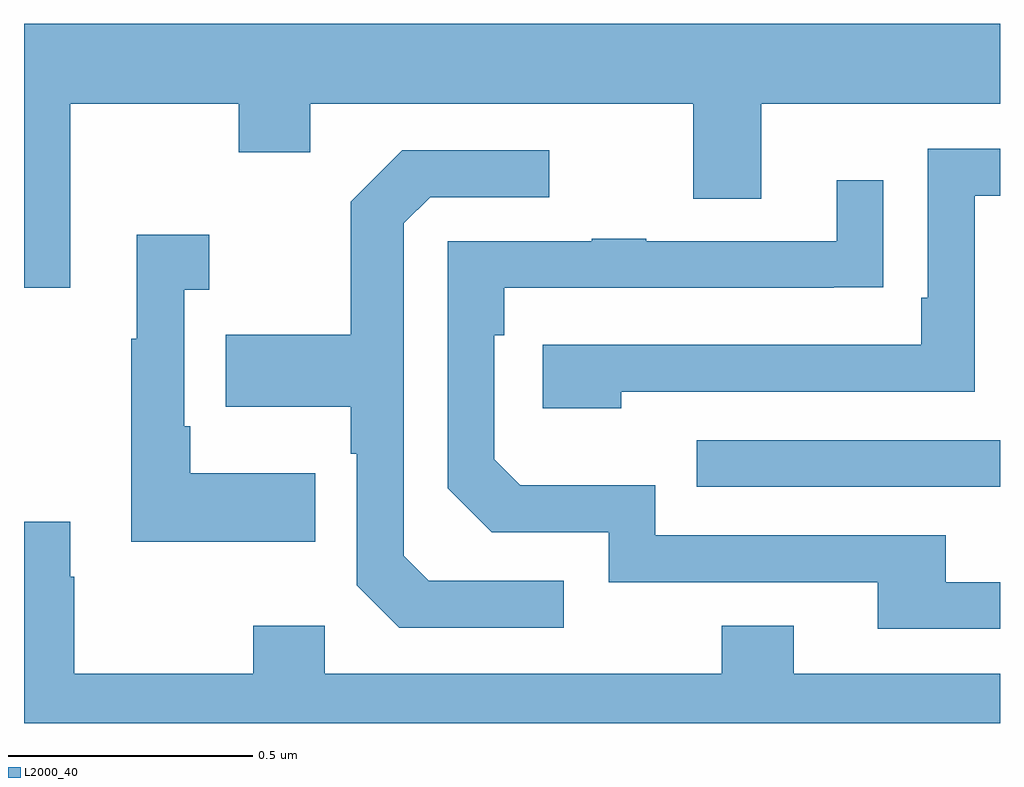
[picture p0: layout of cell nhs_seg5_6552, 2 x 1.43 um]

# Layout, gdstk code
import gdstk
lib = gdstk.Library(unit=1e-6, precision=1e-09)
def R(c, l, rs):  # rectangles x0, y0, x1, y1
    for r in rs: c.add(gdstk.rectangle(r[:2], r[2:], *l))
def P(c, l, *ps):  # polygons
    for p in ps: c.add(gdstk.Polygon(p, *l))
L2000_40 = (2000, 40)

nhs_seg5_6552 = lib.new_cell('nhs_seg5_6552')
R(nhs_seg5_6552, L2000_40, [(198.379,881.283,199,881.379)])
P(nhs_seg5_6552, L2000_40, [(197.095,882.068),(197.44,882.068),(197.44,881.969),(197.587,881.969),(197.587,882.068),(198.371,882.068),(198.371,881.874),(198.511,881.874),(198.511,882.068),(199,882.068),(199,882.232),(197,882.232),(197,881.691),(197.095,881.691)],
  [(198.224,881.478),(198.948,881.478),(198.948,881.88),(199,881.88),(199,881.976),(198.852,881.976),(198.852,881.671),(198.839,881.671),(198.839,881.574),(198.063,881.574),(198.063,881.444),(198.224,881.444)],
  [(198.106,881.091),(197.829,881.091),(197.778,881.142),(197.778,881.823),(197.832,881.877),(198.076,881.877),(198.076,881.973),(197.775,881.973),(197.67,881.867),(197.67,881.595),(197.413,881.595),(197.413,881.447),(197.67,881.447),(197.67,881.351),(197.682,881.351),(197.682,881.082),(197.769,880.995),(198.106,880.995)],
  [(199,881.088),(198.889,881.088),(198.889,881.184),(198.294,881.184),(198.294,881.287),(198.017,881.287),(197.964,881.34),(197.964,881.594),(197.984,881.594),(197.984,881.691),(198.659,881.691),(198.659,881.692),(198.761,881.692),(198.761,881.911),(198.665,881.911),(198.665,881.787),(198.275,881.787),(198.275,881.792),(198.163,881.792),(198.163,881.787),(197.868,881.787),(197.868,881.28),(197.958,881.19),(198.198,881.19),(198.198,881.088),(198.749,881.088),(198.749,880.992),(199,880.992)],
  [(197.597,881.311),(197.341,881.311),(197.341,881.407),(197.328,881.407),(197.328,881.687),(197.38,881.687),(197.38,881.8),(197.231,881.8),(197.231,881.587),(197.22,881.587),(197.22,881.171),(197.597,881.171)],
  [(199,880.9),(198.577,880.9),(198.577,880.999),(198.43,880.999),(198.43,880.9),(197.616,880.9),(197.616,880.999),(197.47,880.999),(197.47,880.9),(197.103,880.9),(197.103,881.099),(197.095,881.099),(197.095,881.212),(197,881.212),(197,880.799),(199,880.799)])

lib.write_gds('nhs_seg5_6552.gds')
